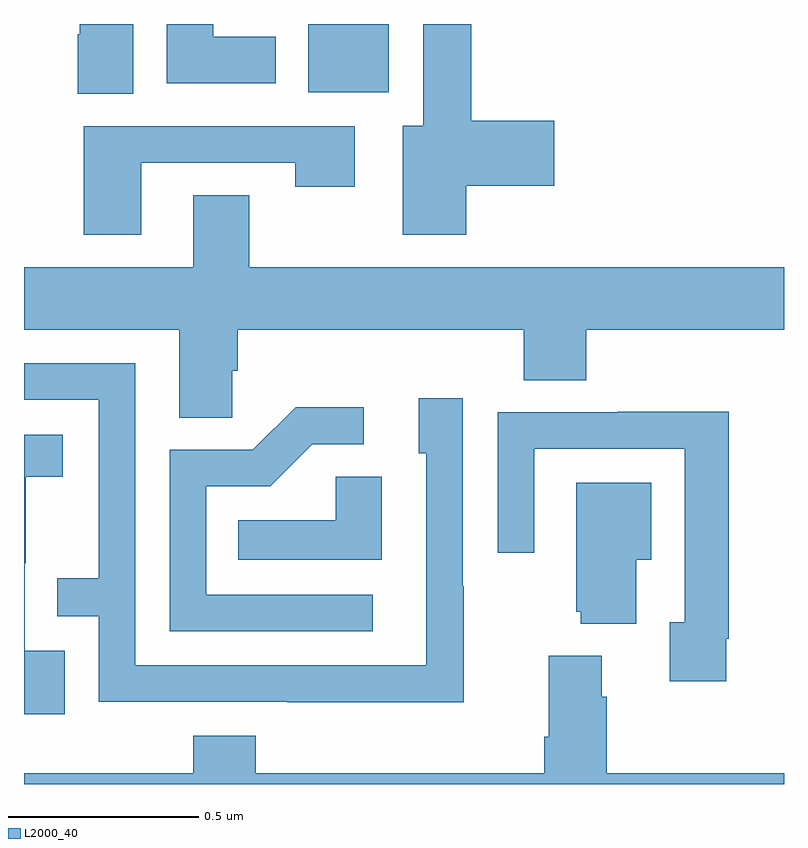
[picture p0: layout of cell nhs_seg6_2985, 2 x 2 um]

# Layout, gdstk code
import gdstk
lib = gdstk.Library(unit=1e-6, precision=1e-09)
def R(c, l, rs):  # rectangles x0, y0, x1, y1
    for r in rs: c.add(gdstk.rectangle(r[:2], r[2:], *l))
def P(c, l, *ps):  # polygons
    for p in ps: c.add(gdstk.Polygon(p, *l))
L2000_40 = (2000, 40)

nhs_seg6_2985 = lib.new_cell('nhs_seg6_2985')
R(nhs_seg6_2985, L2000_40, [(151.748,921.32,151.96,921.5)])
P(nhs_seg6_2985, L2000_40, [(151.663,921.466),(151.498,921.466),(151.498,921.5),(151.376,921.5),(151.376,921.344),(151.663,921.344)],
  [(151.288,921.5),(151.147,921.5),(151.147,921.473),(151.142,921.473),(151.142,921.316),(151.288,921.316)],
  [(152.164,921.074),(152.395,921.074),(152.395,921.245),(152.177,921.245),(152.177,921.5),(152.051,921.5),(152.051,921.232),(151.997,921.232),(151.997,920.946),(152.164,920.946)],
  [(151.309,921.135),(151.714,921.135),(151.714,921.072),(151.87,921.072),(151.87,921.231),(151.157,921.231),(151.157,920.946),(151.309,920.946)],
  [(151.548,920.587),(151.562,920.587),(151.562,920.696),(152.315,920.696),(152.315,920.563),(152.48,920.563),(152.48,920.696),(153,920.696),(153,920.86),(151.593,920.86),(151.593,921.05),(151.445,921.05),(151.445,920.86),(151,920.86),(151,920.696),(151.409,920.696),(151.409,920.464),(151.548,920.464)],
  [(152.157,920.021),(152.154,920.021),(152.154,920.515),(152.039,920.515),(152.039,920.37),(152.058,920.37),(152.058,919.812),(151.293,919.812),(151.293,920.607),(151,920.607),(151,920.511),(151.197,920.511),(151.197,920.042),(151.087,920.042),(151.087,919.941),(151.197,919.941),(151.197,919.716),(151.693,919.716),(151.693,919.715),(152.157,919.715)],
  [(151.918,919.998),(151.479,919.998),(151.479,920.283),(151.648,920.283),(151.759,920.394),(151.894,920.394),(151.894,920.492),(151.715,920.492),(151.602,920.379),(151.383,920.379),(151.383,919.902),(151.918,919.902)],
  [(152.848,919.882),(152.855,919.882),(152.855,920.48),(152.563,920.48),(152.563,920.478),(152.247,920.478),(152.247,920.109),(152.343,920.109),(152.343,920.382),(152.739,920.382),(152.739,919.926),(152.699,919.926),(152.699,919.77),(152.848,919.77)],
  [(151.107,919.851),(151.002,919.851),(151.002,920.081),(151.004,920.081),(151.004,920.309),(151.102,920.309),(151.102,920.419),(151,920.419),(151,919.683),(151.107,919.683)],
  [(151.942,920.309),(151.821,920.309),(151.821,920.194),(151.564,920.194),(151.564,920.09),(151.942,920.09)],
  [(152.611,920.09),(152.65,920.09),(152.65,920.293),(152.453,920.293),(152.453,919.953),(152.465,919.953),(152.465,919.922),(152.611,919.922)],
  [(153,919.528),(152.534,919.528),(152.534,919.73),(152.521,919.73),(152.521,919.837),(152.381,919.837),(152.381,919.624),(152.369,919.624),(152.369,919.528),(151.61,919.528),(151.61,919.627),(151.445,919.627),(151.445,919.528),(151,919.528),(151,919.5),(153,919.5)])

lib.write_gds('nhs_seg6_2985.gds')
